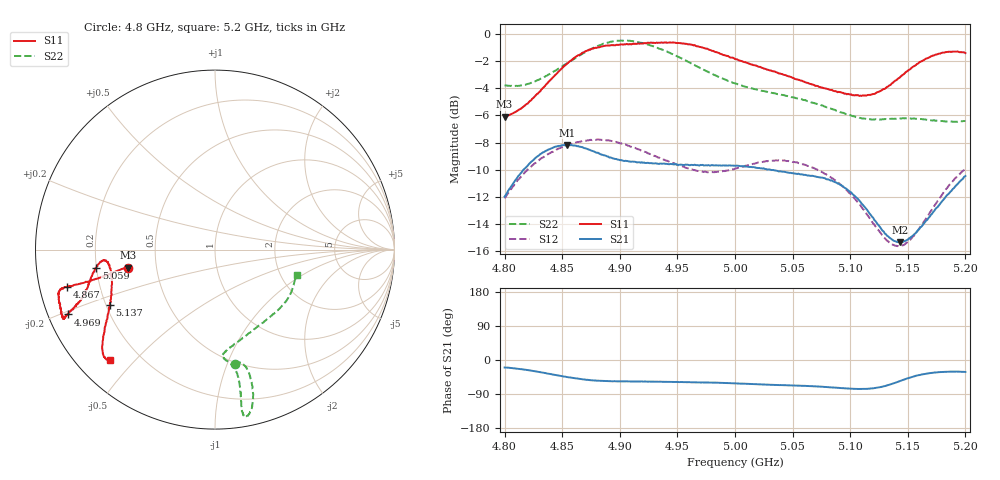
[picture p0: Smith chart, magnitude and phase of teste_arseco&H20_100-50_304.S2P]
! Network Analyzer HP8722D
! Hewlett-Packard
! Data name: Linha & Wilkinson
! Saver's name: Rodrigo Anjos
! Comments: Teste da utilização de aquisição
! continua pelo VNA HP8722D
! Time and date: 6/5/2025 15:06
!  Frequency  S11  S21  S12  S22
# HZ  S  MA R 50
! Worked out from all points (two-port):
!   401 points, 4.8 GHz to 5.2 GHz, reference 50 ohm
!   highest |S21| = -8.17 dB at 4.854 GHz (marker M1); lowest = -15.3 dB at 5.143 GHz (marker M2)
!   |S21| within 3 dB of the highest: 4.806 GHz to 5.093 GHz (286.7 MHz wide, 5.79 % of centre); 5.191692 GHz to end of sweep
!   lowest |S11| = -6.1 dB at 4.8 GHz (marker M3), VSWR 2.97, Z = 17 - j4.57 ohm
!   |S11| at or under -10 dB: nowhere
!   |S22| runs from -6.5 to -0.5 dB; largest |S21 - S12| = 0.62
!   S11 on the Smith chart (normalised r, x): 4.8 GHz: 0.34, -0.09; 4.867 GHz: 0.08, -0.12; 4.969 GHz: 0.06, -0.21; 5.059 GHz: 0.20, -0.07; 5.137 GHz: 0.22, -0.23; 5.2 GHz: 0.10, -0.43
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4.8e9  0.4964 -168.2  0.2521 -19.7  0.2483 -140.8  0.6466 -80.3
4.829e9  0.6038 -166.9  0.3553 -31.1  0.3412 -145.0  0.6769 -75.2
4.854e9  0.7758 -165.8  0.3905 -44.9  0.3894 -149.8  0.7784 -74.7
4.867e9  0.8488 -165.9  0.3834 -50.7  0.4028 -151.9  0.8417 -75.4
4.879e9  0.8896 -165.6  0.3666 -54.3  0.4073 -154.1  0.8956 -76.6
4.899e9  0.9109 -162.7  0.3446 -56.4  0.3979 -156.7  0.9436 -79.0
4.915e9  0.9189 -159.3  0.3367 -56.7  0.3777 -157.1  0.9338 -80.3
4.934e9  0.9279 -156.3  0.3325 -57.4  0.3508 -155.7  0.8828 -80.5
4.969e9  0.8953 -156.2  0.3278 -58.9  0.3128 -147.3  0.7521 -79.6
5e9  0.808 -159.0  0.3273 -61.7  0.3195 -137.2  0.6572 -81.3
5.036e9  0.7217 -165.4  0.3139 -65.9  0.3423 -134.3  0.6016 -85.8
5.059e9  0.6691 -171.4  0.3038 -68.2  0.3317 -136.0  0.5717 -84.4
5.067e9  0.6512 -173.0  0.301 -69.0  0.3228 -136.8  0.559 -82.7
5.084e9  0.6223 -174.5  0.2896 -72.4  0.2954 -138.3  0.5294 -76.2
5.102e9  0.5948 -171.9  0.2576 -75.8  0.2534 -138.7  0.4983 -65.9
5.116e9  0.5964 -165.6  0.2209 -76.0  0.2127 -135.5  0.4856 -55.8
5.134e9  0.6465 -154.3  0.1782 -65.5  0.1707 -120.8  0.4867 -43.4
5.137e9  0.6609 -152.4  0.1744 -62.2  0.1679 -116.9  0.4873 -41.5
5.143e9  0.6909 -149.3  0.1712 -55.7  0.1657 -108.9  0.489 -38.0
5.154e9  0.7544 -144.6  0.1806 -44.5  0.1793 -95.0  0.4877 -32.1
5.172e9  0.8329 -139.0  0.2211 -33.5  0.2297 -81.1  0.4808 -24.6
5.2e9  0.85 -133.6  0.3001 -31.5  0.3195 -76.9  0.4779 -17.6
